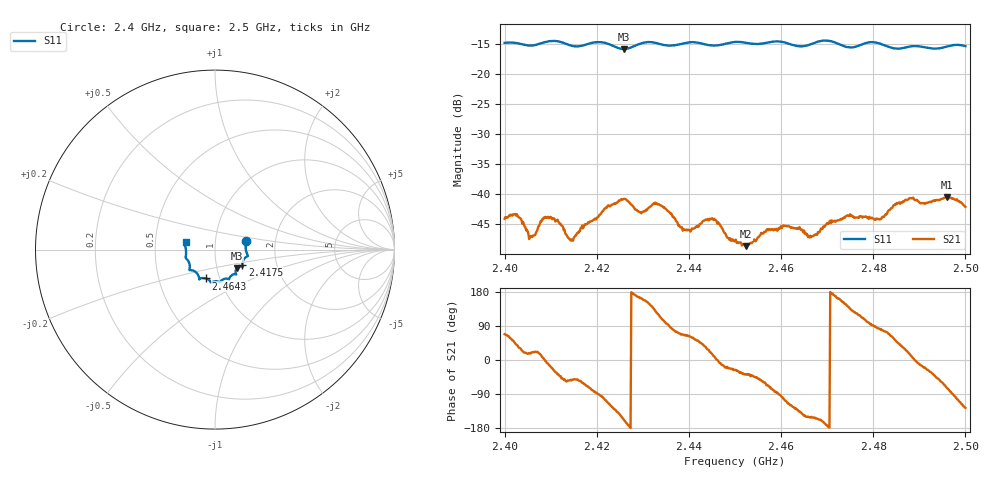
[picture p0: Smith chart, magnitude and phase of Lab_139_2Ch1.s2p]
# Hz S RI R 50
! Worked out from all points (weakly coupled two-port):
!   601 points, 2.4 GHz to 2.5 GHz, reference 50 ohm
!   highest |S21| = -40.46 dB at 2.496 GHz (marker M1); lowest = -48.6 dB at 2.4523 GHz (marker M2)
!   lowest |S11| = -15.9 dB at 2.4258 GHz (marker M3), VSWR 1.38, Z = 62.3 - j13.3 ohm
!   |S11| at or under -10 dB: start of sweep to end of sweep
!   S12 and S22 are empty: the file has one direction only
!   S11 on the Smith chart (normalised r, x): 2.4 GHz: 1.41, +0.14; 2.4175 GHz: 1.34, -0.23; 2.4643 GHz: 0.86, -0.29; 2.5 GHz: 0.72, +0.06
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2.4e9  0.1733 0.0488  0.00234 0.00581  0 0  0 0
2.402667e9  0.1753 0.037  0.00527 0.00436  0 0  0 0
2.405833e9  0.1707 0.00388  0.00418 0.00153  0 0  0 0
2.409e9  0.1813 -0.029  0.00638 -0.000419  0 0  0 0
2.414333e9  0.1638 -0.0495  0.00254 -0.00328  0 0  0 0
2.416667e9  0.1529 -0.0743  0.0028 -0.00447  0 0  0 0
2.4175e9  0.152 -0.0837  0.00235 -0.00514  0 0  0 0
2.425833e9  0.1218 -0.1039  -0.00841 -0.00355  0 0  0 0
2.429333e9  0.1159 -0.1335  -0.00682 0.00203  0 0  0 0
2.433333e9  0.1128 -0.1371  -0.0042 0.00715  0 0  0 0
2.439167e9  0.0801 -0.1604  0.00204 0.00465  0 0  0 0
2.445333e9  0.0527 -0.1626  0.00601 0.00115  0 0  0 0
2.45e9  0.0287 -0.1808  0.00372 -0.00181  0 0  0 0
2.452333e9  0.021 -0.1791  0.0029 -0.00232  0 0  0 0
2.457333e9  -0.0156 -0.181  0.00188 -0.00478  0 0  0 0
2.464333e9  -0.0499 -0.1608  -0.00379 -0.00335  0 0  0 0
2.466667e9  -0.076 -0.1593  -0.00395 -0.00212  0 0  0 0
2.4745e9  -0.1016 -0.1308  -0.0052 0.00419  0 0  0 0
2.483333e9  -0.1404 -0.0898  0.00263 0.00686  0 0  0 0
2.488167e9  -0.1608 -0.0493  0.00913 0.0019  0 0  0 0
2.496e9  -0.1666 0.0196  0.00262 -0.00912  0 0  0 0
2.5e9  -0.1635 0.0425  -0.00466 -0.00633  0 0  0 0
